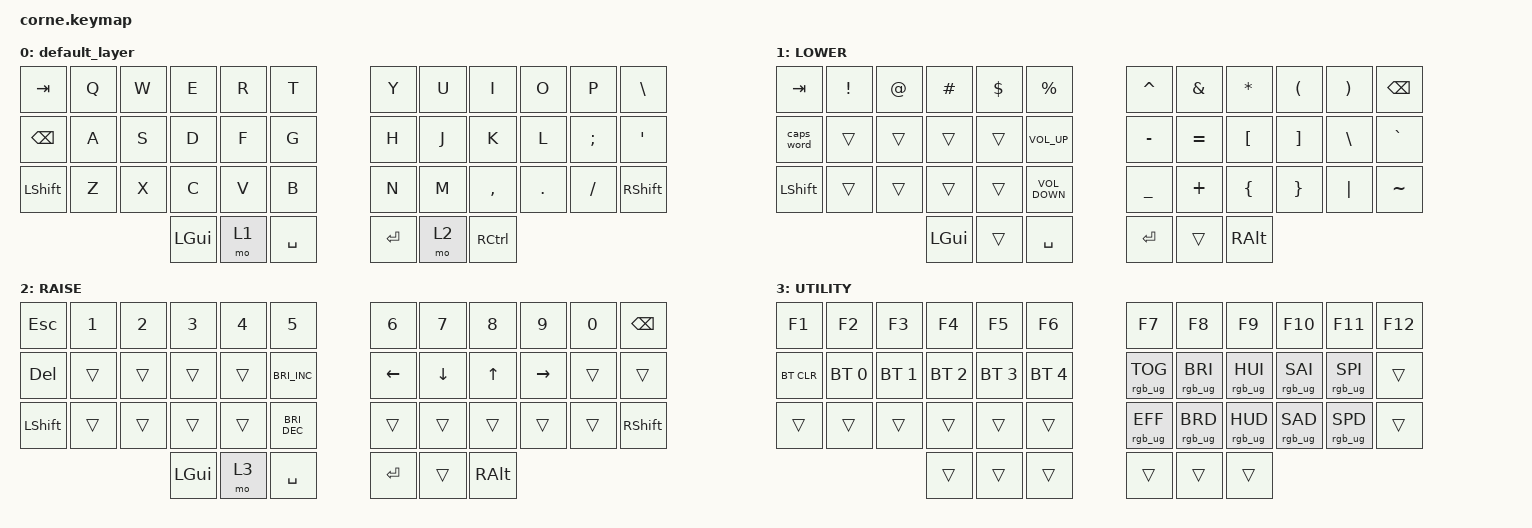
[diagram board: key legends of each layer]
/*
 * Copyright (c) 2020 The ZMK Contributors
 *
 * SPDX-License-Identifier: MIT
 */

#include <behaviors.dtsi>
#include <dt-bindings/zmk/bt.h>
#include <dt-bindings/zmk/keys.h>
#include <dt-bindings/zmk/rgb.h>

&led_strip {
    chain-length = <27>; // 21 backlight + 6 underglow
};

/ {
    keymap {
        compatible = "zmk,keymap";

        default_layer {
            // -----------------------------------------------------------------------------------------
            // |  TAB |  Q  |  W  |  E  |  R  |  T  |   |  Y  |  U   |  I  |  O  |  P  | BSLH |
            // | BKSP |  A  |  S  |  D  |  F  |  G  |   |  H  |  J   |  K  |  L  |  ;  |  '   |
            // | SHFT |  Z  |  X  |  C  |  V  |  B  |   |  N  |  M   |  ,  |  .  |  /  | SHFT  |
            //                    | MOD | LWR | SPC |   | ENT | RSE  | MOD |

            bindings = <
&kp TAB    &kp Q  &kp W  &kp E     &kp R  &kp T        &kp Y    &kp U  &kp I      &kp O    &kp P     &kp BSLH
&kp BSPC   &kp A  &kp S  &kp D     &kp F  &kp G        &kp H    &kp J  &kp K      &kp L    &kp SEMI  &kp SQT
&kp LSHFT  &kp Z  &kp X  &kp C     &kp V  &kp B        &kp N    &kp M  &kp COMMA  &kp DOT  &kp FSLH  &kp RSHIFT
                         &kp LGUI  &mo 1  &kp SPACE    &kp RET  &mo 2  &kp RCTRL
            >;
        };

        LOWER {
            // -----------------------------------------------------------------------------------------
            // |  TAB |  !  |  @  |  #  |  $  |  %  |   |  ^  |  &  |  *  |  (  |  )  | BSPC |
            // | CTRL |     |     |     |     |     |   |  -  |  =  |  [  |  ]  |  \  |  `   |
            // | SHFT |     |     |     |     |     |   |  _  |  +  |  {  |  }  | "|" |  ~   |
            //                    | GUI |     | SPC |   | ENT |     | ALT |

            bindings = <
&kp TAB     &kp EXCL  &kp AT  &kp HASH  &kp DLLR  &kp PRCNT            &kp CARET  &kp AMPS   &kp ASTRK  &kp LPAR  &kp RPAR  &kp BSPC
&caps_word  &trans    &trans  &trans    &trans    &kp C_VOLUME_UP      &kp MINUS  &kp EQUAL  &kp LBKT   &kp RBKT  &kp BSLH  &kp GRAVE
&kp LSHFT   &trans    &trans  &trans    &trans    &kp C_VOLUME_DOWN    &kp UNDER  &kp PLUS   &kp LBRC   &kp RBRC  &kp PIPE  &kp TILDE
                              &kp LGUI  &trans    &kp SPACE            &kp RET    &trans     &kp RALT
            >;
        };

        RAISE {
            // -----------------------------------------------------------------------------------------
            // |  TAB |  1  |  2  |  3  |  4  |  5  |   |  6  |  7  |  8  |  9  |  0  | BSPC |
            // | BTCLR| BT1 | BT2 | BT3 | BT4 | BT5 |   | LFT | DWN |  UP | RGT |     |      |
            // | SHFT |     |     |     |     |     |   |     |     |     |     |     |      |
            //                    | GUI |     | SPC |   | ENT |     | ALT |

            bindings = <
&kp ESC     &kp N1  &kp N2  &kp N3    &kp N4  &kp N5                  &kp N6    &kp N7    &kp N8         &kp N9     &kp N0  &kp BSPC
&kp DELETE  &trans  &trans  &trans    &trans  &kp C_BRIGHTNESS_INC    &kp LEFT  &kp DOWN  &kp UP         &kp RIGHT  &trans  &trans
&kp LSHFT   &trans  &trans  &trans    &trans  &kp C_BRIGHTNESS_DEC    &trans    &trans    &trans         &trans     &trans  &kp RSHIFT
                            &kp LGUI  &mo 3   &kp SPACE               &kp RET   &trans    &kp RIGHT_ALT
            >;
        };

        UTILITY {
            bindings = <
&kp F1      &kp F2        &kp F3        &kp F4        &kp F5        &kp F6          &kp F7           &kp F8           &kp F9           &kp F10          &kp F11          &kp F12
&bt BT_CLR  &bt BT_SEL 0  &bt BT_SEL 1  &bt BT_SEL 2  &bt BT_SEL 3  &bt BT_SEL 4    &rgb_ug RGB_TOG  &rgb_ug RGB_BRI  &rgb_ug RGB_HUI  &rgb_ug RGB_SAI  &rgb_ug RGB_SPI  &trans
&trans      &trans        &trans        &trans        &trans        &trans          &rgb_ug RGB_EFF  &rgb_ug RGB_BRD  &rgb_ug RGB_HUD  &rgb_ug RGB_SAD  &rgb_ug RGB_SPD  &trans
                                        &trans        &trans        &trans          &trans           &trans           &trans
            >;
        };
    };
};
